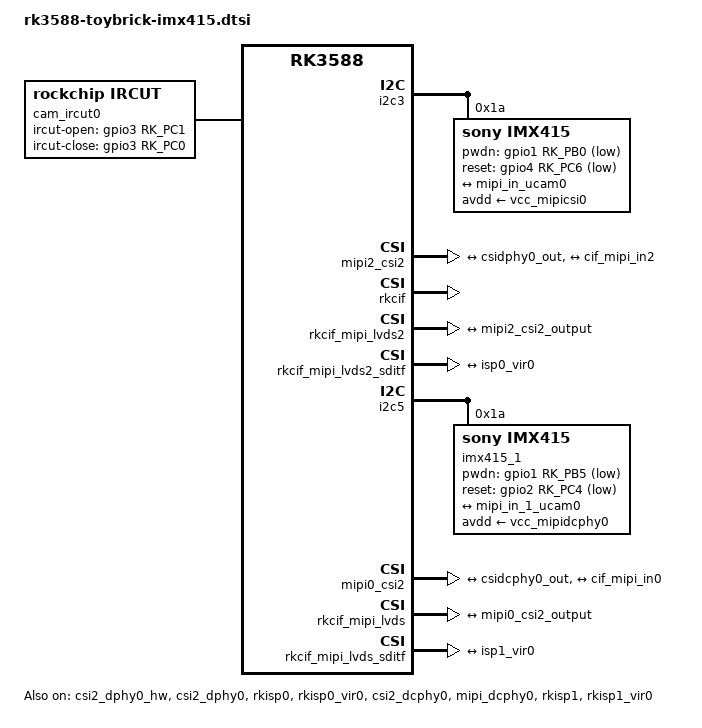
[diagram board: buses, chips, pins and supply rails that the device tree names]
// SPDX-License-Identifier: (GPL-2.0+ OR MIT)
/*
 * Copyright (c) 2021 Rockchip Electronics Co., Ltd.
 *
 */
/ {
	cam_ircut0: cam_ircut {
		status = "okay";
		compatible = "rockchip,ircut";
		ircut-open-gpios = <&gpio3 RK_PC1 GPIO_ACTIVE_HIGH>;
		ircut-close-gpios  = <&gpio3 RK_PC0 GPIO_ACTIVE_HIGH>;
		rockchip,camera-module-index = <0>;
		rockchip,camera-module-facing = "back";
	};
};

&csi2_dphy0_hw {
	status = "okay";
};

&csi2_dphy0 {
	status = "okay";
	ports {
		#address-cells = <1>;
		#size-cells = <0>;
		port@0 {
			reg = <0>;
			#address-cells = <1>;
			#size-cells = <0>;
			mipi_in_ucam0: endpoint@1 {
				reg = <1>;
				remote-endpoint = <&ucam_out0>;
				data-lanes = <1 2 3 4>;
			};
		};
		port@1 {
			reg = <1>;
			#address-cells = <1>;
			#size-cells = <0>;
			csidphy0_out: endpoint@0 {
				reg = <0>;
				remote-endpoint = <&mipi2_csi2_input>;
			};
		};
	};
};

&i2c3 {
	status = "okay";
	imx415: imx415@1a {
		compatible = "sony,imx415";
		reg = <0x1a>;
		clocks = <&cru CLK_MIPI_CAMARAOUT_M3>;
		clock-names = "xvclk";
		pinctrl-names = "default";
		pinctrl-0 = <&mipim0_camera3_clk>;
		power-domains = <&power RK3588_PD_VI>;
		avdd-supply = <&vcc_mipicsi0>;
		pwdn-gpios = <&gpio1 RK_PB0 GPIO_ACTIVE_LOW>;
		reset-gpios = <&gpio4 RK_PC6 GPIO_ACTIVE_LOW>;
		rockchip,camera-module-index = <0>;
		rockchip,camera-module-facing = "back";
		rockchip,camera-module-name = "CMK-OT2022-PX1";
		rockchip,camera-module-lens-name = "IR0147-50IRC-8M-F20";
		lens-focus = <&cam_ircut0>;
		port {
			ucam_out0: endpoint {
				remote-endpoint = <&mipi_in_ucam0>;
				data-lanes = <1 2 3 4>;
			};
		};
	};
};

&mipi2_csi2 {
	status = "okay";
	ports {
		#address-cells = <1>;
		#size-cells = <0>;
		port@0 {
			reg = <0>;
			#address-cells = <1>;
			#size-cells = <0>;
			mipi2_csi2_input: endpoint@1 {
				reg = <1>;
				remote-endpoint = <&csidphy0_out>;
			};
		};
		port@1 {
			reg = <1>;
			#address-cells = <1>;
			#size-cells = <0>;
			mipi2_csi2_output: endpoint@0 {
				reg = <0>;
				remote-endpoint = <&cif_mipi_in2>;
			};
		};
	};
};

&rkcif {
	status = "okay";
};

&rkcif_mipi_lvds2 {
	status = "okay";
	port {
		cif_mipi_in2: endpoint {
			remote-endpoint = <&mipi2_csi2_output>;
		};
	};
};

&rkcif_mipi_lvds2_sditf {
	status = "okay";
	port {
		mipi_lvds_sditf: endpoint {
			remote-endpoint = <&isp0_vir0>;
		};
	};
};

&rkcif_mmu {
	status = "okay";
};

&rkisp0 {
	status = "okay";
};

&isp0_mmu {
	status = "okay";
};

&rkisp0_vir0 {
	status = "okay";
	port {
		#address-cells = <1>;
		#size-cells = <0>;
		isp0_vir0: endpoint@0 {
			reg = <0>;
			remote-endpoint = <&mipi_lvds_sditf>;
		};
	};
};

&csi2_dcphy0 {
	status = "okay";
	ports {
		#address-cells = <1>;
		#size-cells = <0>;
		port@0 {
			reg = <0>;
			#address-cells = <1>;
			#size-cells = <0>;
			mipi_in_1_ucam0: endpoint@1 {
				reg = <1>;
				remote-endpoint = <&imx415_1_out0>;
				data-lanes = <1 2 3 4>;
			};
		};
		port@1 {
			reg = <1>;
			#address-cells = <1>;
			#size-cells = <0>;
			csidcphy0_out: endpoint@0 {
				reg = <0>;
				remote-endpoint = <&mipi0_csi2_input>;
			};
		};
	};
};

&i2c5 {
	status = "okay";

	imx415_1: imx415_1@1a {
		compatible = "sony,imx415";
		reg = <0x1a>;
		clocks = <&cru CLK_MIPI_CAMARAOUT_M1>;
		clock-names = "xvclk";
		pinctrl-names = "default";
		pinctrl-0 = <&mipim0_camera1_clk>;
		power-domains = <&power RK3588_PD_VI>;
		avdd-supply = <&vcc_mipidcphy0>;
		pwdn-gpios = <&gpio1 RK_PB5 GPIO_ACTIVE_LOW>;
		reset-gpios = <&gpio2 RK_PC4 GPIO_ACTIVE_LOW>;
		rockchip,camera-module-index = <0>;
		rockchip,camera-module-facing = "front";
		rockchip,camera-module-name = "CMK-OT2022-PX1";
		rockchip,camera-module-lens-name = "IR0147-50IRC-8M-F20";
		lens-focus = <&cam_ircut0>;
		port {
			imx415_1_out0: endpoint {
				remote-endpoint = <&mipi_in_1_ucam0>;
				data-lanes = <1 2 3 4>;
			};
		};
	};
};

// use dcphy0 isp1
&mipi_dcphy0 {
	status = "okay";
};

&mipi0_csi2 {
	status = "okay";
	ports {
		#address-cells = <1>;
		#size-cells = <0>;
		port@0 {
			reg = <0>;
			#address-cells = <1>;
			#size-cells = <0>;
			mipi0_csi2_input: endpoint@1 {
				reg = <1>;
				remote-endpoint = <&csidcphy0_out>;
			};
		};
		port@1 {
			reg = <1>;
			#address-cells = <1>;
			#size-cells = <0>;
			mipi0_csi2_output: endpoint@0 {
				reg = <0>;
				remote-endpoint = <&cif_mipi_in0>;
			};
		};
	};
};

&rkcif_mipi_lvds {
	status = "okay";
	port {
		cif_mipi_in0: endpoint {
			remote-endpoint = <&mipi0_csi2_output>;
		};
	};
};

#if 0

&rkcif_mipi_lvds_sditf {
	status = "okay";
	port {
		mipi_lvds_sditf_1: endpoint {
			remote-endpoint = <&isp0_vir1>;
		};
	};
};

&rkisp0_vir1 {
	status = "okay";

	port {
		#address-cells = <1>;
		#size-cells = <0>;

		isp0_vir1: endpoint@0 {
			reg = <0>;
			remote-endpoint = <&mipi_lvds_sditf_1>;
		};
	};
};

#endif

&rkisp1 {
	status = "okay";
};

&isp1_mmu {
	status = "okay";
};

&rkcif_mipi_lvds_sditf {
	status = "okay";

	port {
		mipi1_lvds_sditf: endpoint {
			remote-endpoint = <&isp1_vir0>;
		};
	};
};

&rkisp1_vir0 {
	status = "okay";

	port {
		#address-cells = <1>;
		#size-cells = <0>;

		isp1_vir0: endpoint@0 {
			reg = <0>;
			remote-endpoint = <&mipi1_lvds_sditf>;
		};
	};
};
